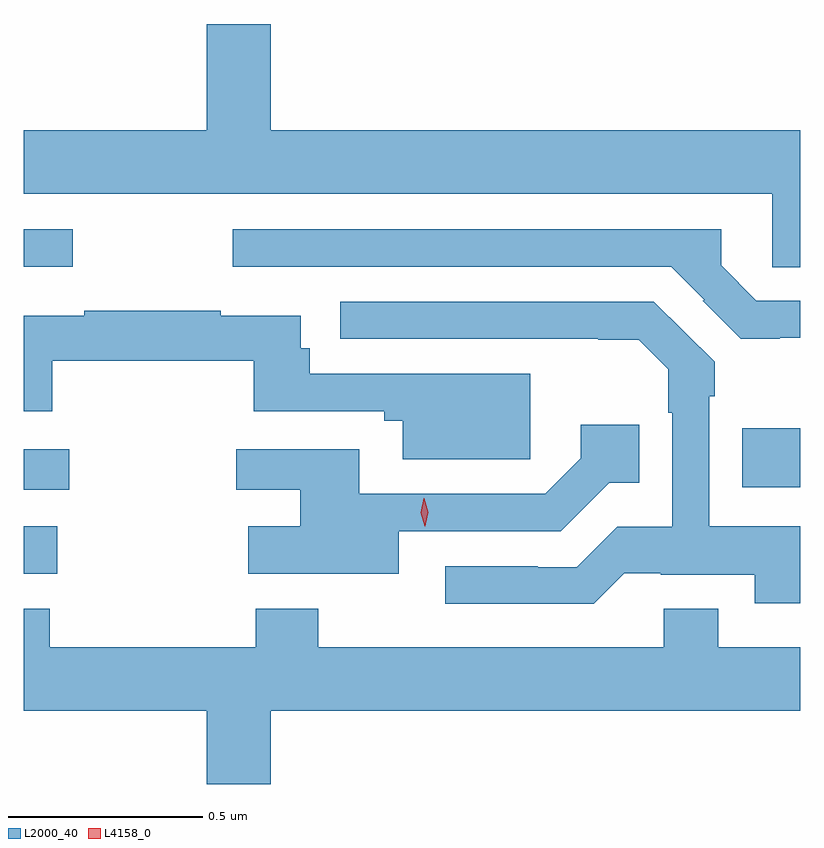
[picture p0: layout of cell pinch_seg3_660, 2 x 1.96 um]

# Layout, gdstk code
import gdstk
lib = gdstk.Library(unit=1e-6, precision=1e-09)
def R(c, l, rs):  # rectangles x0, y0, x1, y1
    for r in rs: c.add(gdstk.rectangle(r[:2], r[2:], *l))
def P(c, l, *ps):  # polygons
    for p in ps: c.add(gdstk.Polygon(p, *l))
L2000_40 = (2000, 40)
L4158_0 = (4158, 0)

pinch_seg3_660 = lib.new_cell('pinch_seg3_660')
R(pinch_seg3_660, L2000_40, [(1027.672,678.626,1027.759,678.748), (1027.672,678.842,1027.789,678.946), (1029.523,678.848,1029.672,679), (1027.672,679.416,1027.798,679.512)])
P(pinch_seg3_660, L2000_40, [(1029.672,679.768),(1028.308,679.768),(1028.308,680.041),(1028.144,680.041),(1028.144,679.768),(1027.672,679.768),(1027.672,679.604),(1029.6,679.604),(1029.6,679.414),(1029.672,679.414)],
  [(1029.619,679.233),(1029.672,679.233),(1029.672,679.329),(1029.558,679.329),(1029.468,679.42),(1029.468,679.512),(1028.211,679.512),(1028.211,679.416),(1029.339,679.416),(1029.424,679.331),(1029.421,679.328),(1029.519,679.231),(1029.619,679.231)],
  [(1029.219,678.627),(1029.313,678.627),(1029.313,678.623),(1029.554,678.623),(1029.554,678.549),(1029.672,678.549),(1029.672,678.748),(1029.438,678.748),(1029.438,679.082),(1029.451,679.082),(1029.451,679.171),(1029.295,679.326),(1028.487,679.326),(1028.487,679.231),(1028.599,679.231),(1028.599,679.23),(1029.152,679.23),(1029.152,679.228),(1029.256,679.228),(1029.332,679.152),(1029.332,679.04),(1029.342,679.04),(1029.342,678.747),(1029.201,678.747),(1029.096,678.642),(1028.996,678.642),(1028.996,678.645),(1028.757,678.645),(1028.757,678.548),(1029.14,678.548)],
  [(1028.977,679.141),(1028.701,679.141),(1028.701,679.14),(1028.409,679.14),(1028.409,679.206),(1028.386,679.206),(1028.386,679.29),(1028.18,679.29),(1028.18,679.303),(1027.828,679.303),(1027.828,679.29),(1027.672,679.29),(1027.672,679.044),(1027.745,679.044),(1027.745,679.174),(1028.264,679.174),(1028.264,679.044),(1028.601,679.044),(1028.601,679.019),(1028.648,679.019),(1028.648,678.92),(1028.977,678.92)],
  [(1028.638,678.735),(1029.055,678.735),(1029.18,678.86),(1029.257,678.86),(1029.257,679.009),(1029.107,679.009),(1029.107,678.923),(1029.015,678.831),(1028.536,678.831),(1028.536,678.946),(1028.22,678.946),(1028.22,678.842),(1028.384,678.842),(1028.384,678.748),(1028.25,678.748),(1028.25,678.626),(1028.638,678.626)],
  [(1028.308,678.272),(1029.672,678.272),(1029.672,678.436),(1029.46,678.436),(1029.46,678.535),(1029.32,678.535),(1029.32,678.436),(1028.43,678.436),(1028.43,678.535),(1028.27,678.535),(1028.27,678.436),(1027.739,678.436),(1027.739,678.535),(1027.672,678.535),(1027.672,678.272),(1028.144,678.272),(1028.144,678.084),(1028.308,678.084)])
P(pinch_seg3_660, L4158_0, [(1028.705,678.748),(1028.705,678.748),(1028.694,678.783),(1028.702,678.82),(1028.703,678.82),(1028.703,678.82),(1028.714,678.784),(1028.706,678.748)])

lib.write_gds('pinch_seg3_660.gds')
